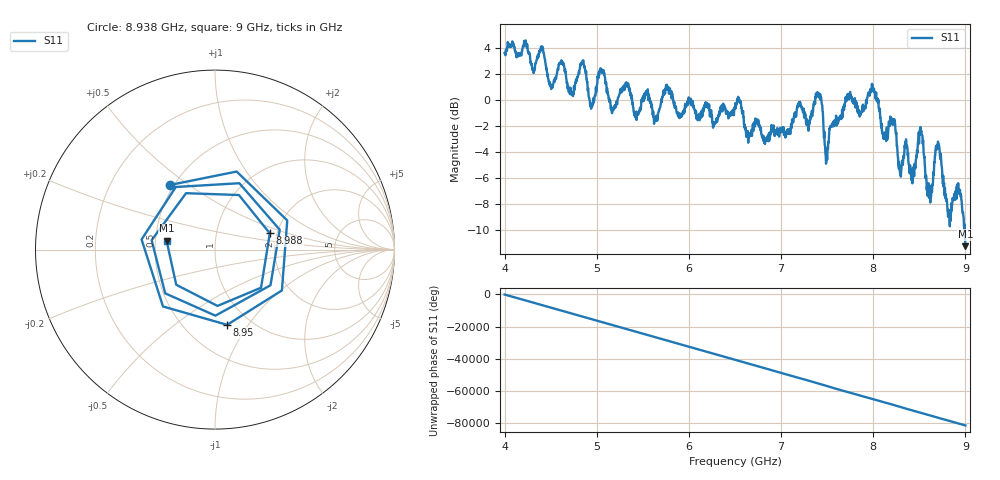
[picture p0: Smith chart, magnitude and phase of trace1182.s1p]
! Created with skrf 1.8.0 (http://scikit-rf.org).
# Hz S RI R 50.0
!freq ReS11 ImS11
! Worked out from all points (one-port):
!   1601 points, 4 GHz to 9 GHz, reference 50 ohm
!   lowest |S11| = -11.2 dB at 9 GHz (marker M1), VSWR 1.76, Z = 28.6 + j3.1 ohm
!   |S11| at or under -10 dB: 8.993653 GHz to end of sweep
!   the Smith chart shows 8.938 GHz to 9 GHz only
!   S11 on the Smith chart (normalised r, x): 8.938 GHz: 0.47, +0.42; 8.95 GHz: 0.78, -0.80; 8.988 GHz: 1.83, +0.37; 9 GHz: 0.57, +0.06
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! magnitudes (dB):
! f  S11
! 4 GHz  3.6
! 4.625 GHz  3.0
! 4.722 GHz  0.5
! 4.853 GHz  3.0
! 4.944 GHz  -0.3
! 5.047 GHz  2.3
! 5.25 GHz  0.5
! 5.875 GHz  -1.0
! 6.5 GHz  -0.7
! 6.825 GHz  -3.4
! 7.125 GHz  -1.6
! 7.409 GHz  0.2
! 7.497 GHz  -4.2
! 7.75 GHz  0.6
! 7.997 GHz  0.9
! 8.119 GHz  -3.0
! 8.219 GHz  -1.7
! 8.291 GHz  -5.6
! 8.375 GHz  -4.3
! 8.438 GHz  -5.1
! 8.516 GHz  -2.5
! 8.606 GHz  -7.5
! 8.697 GHz  -3.5
! 8.819 GHz  -8.9
! 8.938 GHz  -7.1
! 8.95 GHz  -7.4
! 8.988 GHz  -9.9
! 9 GHz  -11.2
